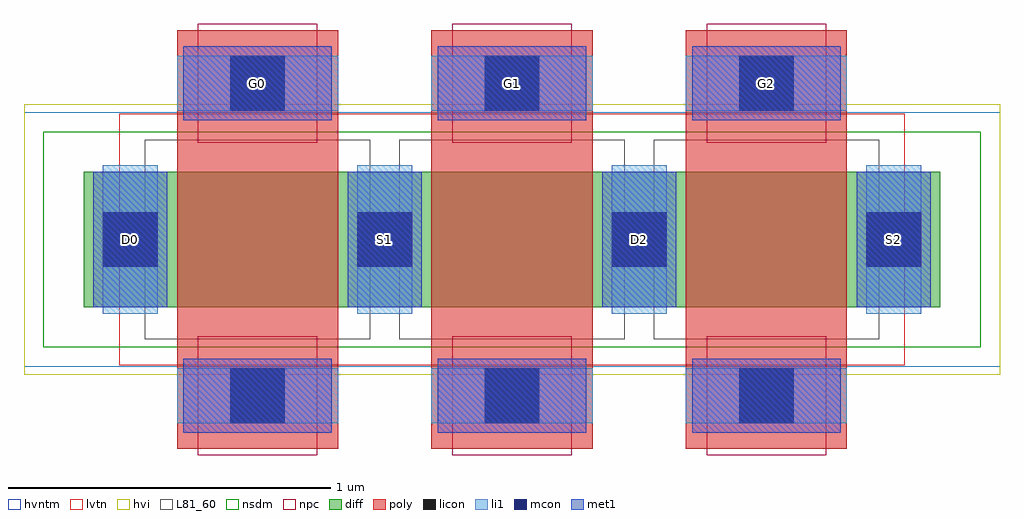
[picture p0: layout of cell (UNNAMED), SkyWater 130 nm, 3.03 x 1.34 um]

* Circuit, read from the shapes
.subckt (UNNAMED) D0 D2 G0 G1 G2 S1 S2
XM1 S1 G0 D0 VSUBS sky130_fd_pr__nfet_05v0_nvt w=0.42 l=0.5
XM2 D2 G1 S1 VSUBS sky130_fd_pr__nfet_05v0_nvt w=0.42 l=0.5
XM3 S2 G2 D2 VSUBS sky130_fd_pr__nfet_05v0_nvt w=0.42 l=0.5
.ends

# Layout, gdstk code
import gdstk
lib = gdstk.Library(unit=1e-6, precision=1e-09)
def R(c, l, rs):  # rectangles x0, y0, x1, y1
    for r in rs: c.add(gdstk.rectangle(r[:2], r[2:], *l))
def A(c, l, x, y, w, h, nx, ny, dx, dy):  # array of equal rectangles
    R(c, l, [(x+i*dx, y+j*dy, x+i*dx+w, y+j*dy+h) for i in range(nx) for j in range(ny)])
diff = (65, 20)
poly = (66, 20)
licon = (66, 44)
li1 = (67, 20)
mcon = (67, 44)
met1 = (68, 20)
hvi = (75, 20)
L81_60 = (81, 60)
nsdm = (93, 44)
npc = (95, 20)
hvntm = (125, 20)
lvtn = (125, 44)

c__unnamed_ = lib.new_cell('(UNNAMED)')
R(c__unnamed_, diff, [(-1.33,-0.21,1.33,0.21)])
A(c__unnamed_, poly, -1.04, -0.65, 0.5, 1.3, 3, 1, 0.79, 0)
A(c__unnamed_, licon, -0.875, -0.57, 0.17, 0.17, 3, 2, 0.79, 0.97)
A(c__unnamed_, licon, -1.27, -0.085, 0.17, 0.17, 4, 1, 0.79, 0)
A(c__unnamed_, li1, -1.04, -0.57, 0.5, 0.17, 3, 2, 0.79, 0.97)
A(c__unnamed_, li1, -1.27, -0.23, 0.17, 0.46, 4, 1, 0.79, 0)
A(c__unnamed_, mcon, -0.875, -0.57, 0.17, 0.17, 3, 2, 0.79, 0.97)
A(c__unnamed_, mcon, -1.27, -0.085, 0.17, 0.17, 4, 1, 0.79, 0)
A(c__unnamed_, met1, -1.02, -0.6, 0.46, 0.23, 3, 2, 0.79, 0.97)
A(c__unnamed_, met1, -1.3, -0.21, 0.23, 0.42, 4, 1, 0.79, 0)
R(c__unnamed_, hvi, [(-1.515,-0.42,1.515,0.42)])
A(c__unnamed_, L81_60, -1.14, -0.31, 0.7, 0.62, 3, 1, 0.79, 0)
R(c__unnamed_, nsdm, [(-1.455,-0.335,1.455,0.335)])
A(c__unnamed_, npc, -0.975, -0.67, 0.37, 0.37, 3, 2, 0.79, 0.97)
R(c__unnamed_, hvntm, [(-1.515,-0.395,1.515,0.395)])
R(c__unnamed_, lvtn, [(-1.22,-0.39,1.22,0.39)])
c__unnamed_.add(gdstk.Label('D0', (-1.185,0), layer=67, texttype=5))
c__unnamed_.add(gdstk.Label('G0', (-0.79,0.485), layer=67, texttype=5))
c__unnamed_.add(gdstk.Label('S1', (-0.395,0), layer=67, texttype=5))
c__unnamed_.add(gdstk.Label('G1', (0,0.485), layer=67, texttype=5))
c__unnamed_.add(gdstk.Label('D2', (0.395,0), layer=67, texttype=5))
c__unnamed_.add(gdstk.Label('S2', (1.185,0), layer=67, texttype=5))
c__unnamed_.add(gdstk.Label('G2', (0.79,0.485), layer=67, texttype=5))

lib.write_gds('_UNNAMED_.gds')
